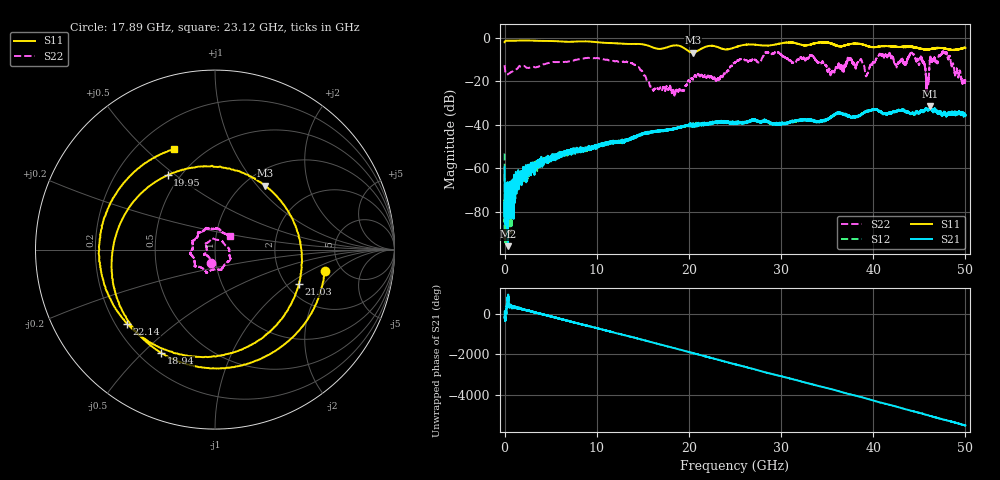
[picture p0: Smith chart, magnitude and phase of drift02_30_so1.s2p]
!Created with skrf (http://scikit-rf.org).
# Hz S RI R 50.0
!freq ReS11 ImS11 ReS21 ImS21 ReS12 ImS12 ReS22 ImS22
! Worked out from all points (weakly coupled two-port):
!   10001 points, 300 kHz to 50 GHz, reference 50 ohm
!   highest |S21| = -31.49 dB at 46.17 GHz (marker M1); lowest = -95.7 dB at 360.3 MHz (marker M2)
!   lowest |S11| = -6.9 dB at 20.45 GHz (marker M3), VSWR 2.65, Z = 61.5 + j54.9 ohm
!   |S11| at or under -10 dB: nowhere
!   |S22| runs from -26.7 to -6.3 dB; largest |S21 - S12| = 0.0039
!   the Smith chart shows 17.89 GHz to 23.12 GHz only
!   S11 on the Smith chart (normalised r, x): 17.89 GHz: 3.70, -1.45; 18.94 GHz: 0.29, -0.57; 19.95 GHz: 0.43, +0.47; 21.03 GHz: 2.31, -1.20; 22.14 GHz: 0.25, -0.34; 23.12 GHz: 0.35, +0.61
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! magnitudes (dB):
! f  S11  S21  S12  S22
! 300 kHz  -2.1  -59.4  -53.1  -12.7
! 360.3 MHz  -1.4  -95.7  -77.5  -16.9
! 3.035 GHz  -1.4  -59.2  -59.5  -13.5
! 8.335 GHz  -1.7  -51.5  -51.1  -9.7
! 13.71 GHz  -3.0  -46.7  -46.2  -11.6
! 16.67 GHz  -5.2  -42.9  -42.9  -23.5
! 17.89 GHz  -4.1  -42.2  -42.2  -22.3
! 18.94 GHz  -3.8  -41.1  -41.3  -23.7
! 19.95 GHz  -6.2  -40.0  -40.3  -19.6
! 20.45 GHz  -6.9  -40.2  -40.5  -19.2
! 21.03 GHz  -5.9  -39.9  -39.8  -16.8
! 22.14 GHz  -3.9  -39.5  -39.6  -17.6
! 23.12 GHz  -4.4  -38.9  -38.8  -18.8
! 25 GHz  -4.5  -39.2  -39.4  -11.5
! 33.34 GHz  -3.0  -37.9  -37.8  -8.4
! 39.32 GHz  -3.8  -33.7  -33.7  -17.1
! 41.67 GHz  -4.0  -34.6  -34.6  -8.0
! 44.26 GHz  -4.3  -34.6  -34.4  -7.4
! 45.85 GHz  -5.4  -32.8  -33.0  -21.6
! 46.17 GHz  -5.4  -31.5  -31.7  -10.1
! 47.76 GHz  -5.0  -34.2  -34.6  -6.9
! 50 GHz  -4.7  -35.6  -35.7  -19.2
